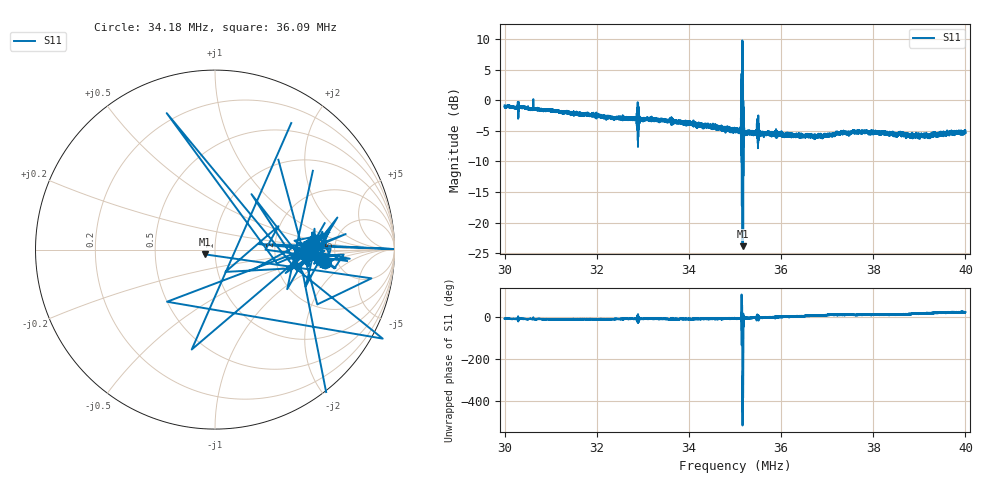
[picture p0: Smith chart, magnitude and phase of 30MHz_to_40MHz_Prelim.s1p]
# HZ S RI R 50
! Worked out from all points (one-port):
!   20200 points, 30 MHz to 40 MHz, reference 50 ohm
!   lowest |S11| = -23.9 dB at 35.16 MHz (marker M1), VSWR 1.14, Z = 44.4 - j2.33 ohm
!   |S11| at or under -10 dB: 35.14651 MHz to 35.14654 MHz (39.62 Hz wide, 0.000113 % of centre); 35.14779 MHz to 35.1482 MHz (402.3 Hz wide, 0.00114 % of centre); 35.14994 MHz to 35.15005 MHz (104.9 Hz wide, 0.000298 % of centre)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
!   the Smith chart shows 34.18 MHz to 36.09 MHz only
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3e7  0.9025 -0.1059
3.124988e7  0.7689 -0.1261
3.249975e7  0.7223 -0.1
3.292644e7  0.6644 -0.037
3.374962e7  0.6513 -0.1042
3.49995e7  0.5484 -0.0501
3.509008e7  0.578 -0.0501
3.510296e7  0.5495 -0.0539
3.510592e7  0.5592 -0.0402
3.511286e7  0.5665 -0.0519
3.511929e7  0.5624 -0.033
3.516285e7  -0.0585 -0.0261
3.519057e7  0.5987 0.0272
3.519304e7  0.5629 -0.0339
3.52079e7  0.5502 -0.0355
3.520988e7  0.5616 -0.0293
3.52178e7  0.5546 -0.0378
3.521878e7  0.5522 -0.0288
3.522423e7  0.551 -0.0173
3.624938e7  0.5214 0.0287
3.674289e7  0.5042 0.0864
3.705276e7  0.5129 0.1232
3.749925e7  0.5311 0.1104
3.782744e7  0.5278 0.131
3.874912e7  0.503 0.1271
3.917978e7  0.4774 0.1735
3.966982e7  0.4997 0.2253
3.99985e7  0.4848 0.235
